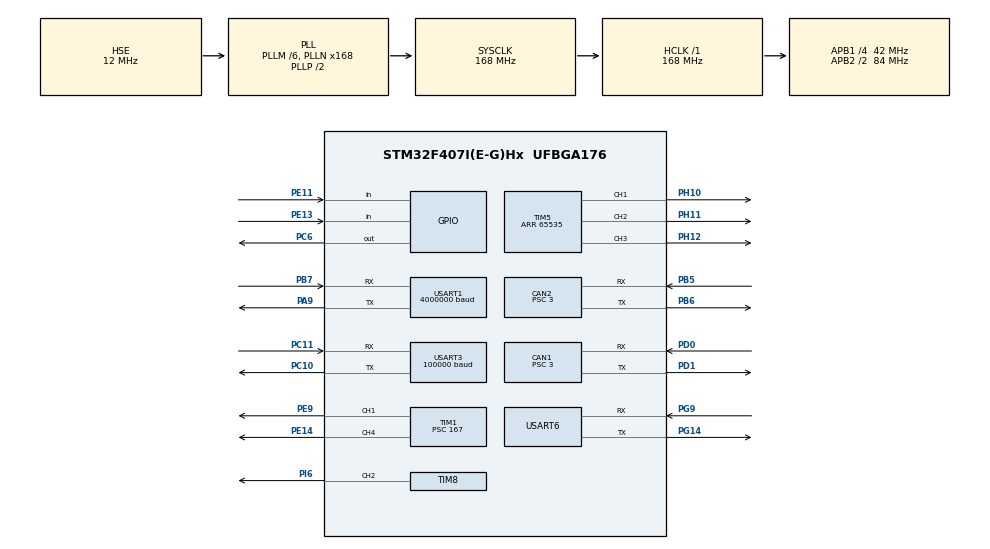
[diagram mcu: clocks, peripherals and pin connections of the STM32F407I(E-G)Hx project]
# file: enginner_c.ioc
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CAN1.ABOM=DISABLE
CAN1.BS1=CAN_BS1_10TQ
CAN1.BS2=CAN_BS2_3TQ
CAN1.CalculateBaudRate=1000000
CAN1.CalculateTimeBit=1000
CAN1.CalculateTimeQuantum=71.42857142857143
CAN1.Prescaler=3
CAN2.BS1=CAN_BS1_10TQ
CAN2.BS2=CAN_BS2_3TQ
CAN2.CalculateBaudRate=1000000
CAN2.CalculateTimeBit=1000
CAN2.CalculateTimeQuantum=71.42857142857143
CAN2.Prescaler=3
Dma.Request0=USART3_RX
Dma.Request1=TIM8_CH2
Dma.TIM8_CH2.1.Direction=DMA_MEMORY_TO_PERIPH
Dma.TIM8_CH2.1.FIFOMode=DMA_FIFOMODE_DISABLE
Dma.TIM8_CH2.1.Instance=DMA2_Stream3
Dma.TIM8_CH2.1.MemDataAlignment=DMA_MDATAALIGN_HALFWORD
Dma.TIM8_CH2.1.MemInc=DMA_MINC_ENABLE
Dma.TIM8_CH2.1.Mode=DMA_NORMAL
Dma.TIM8_CH2.1.PeriphDataAlignment=DMA_PDATAALIGN_HALFWORD
Dma.TIM8_CH2.1.PeriphInc=DMA_PINC_DISABLE
Dma.TIM8_CH2.1.Priority=DMA_PRIORITY_LOW
Dma.USART3_RX.0.Direction=DMA_PERIPH_TO_MEMORY
Dma.USART3_RX.0.FIFOMode=DMA_FIFOMODE_DISABLE
Dma.USART3_RX.0.Instance=DMA1_Stream1
Dma.USART3_RX.0.MemDataAlignment=DMA_MDATAALIGN_BYTE
Dma.USART3_RX.0.MemInc=DMA_MINC_ENABLE
Dma.USART3_RX.0.Mode=DMA_CIRCULAR
Dma.USART3_RX.0.PeriphDataAlignment=DMA_PDATAALIGN_BYTE
Dma.USART3_RX.0.PeriphInc=DMA_PINC_DISABLE
Dma.USART3_RX.0.Priority=DMA_PRIORITY_VERY_HIGH
FREERTOS.Tasks01=defaultTask,24,128,StartDefaultTask,Default,NULL,Dynamic,NULL,NULL;Kinematics,24,512,Kinematics_task,As external,NULL,Dynamic,NULL,NULL;Message,25,512,Message_task,As external,NULL,Dynamic,NULL,NULL;LED,8,128,Led_task,Default,NULL,Dynamic,NULL,NULL
Mcu.Family=STM32F4
Mcu.Name=STM32F407I(E-G)Hx
Mcu.Package=UFBGA176
NVIC.CAN1_RX0_IRQn=true\:5\:0\:false\:false\:true\:true\:true\:true\:true
NVIC.CAN2_RX0_IRQn=true\:5\:0\:false\:false\:true\:true\:true\:true\:true
NVIC.DMA1_Stream1_IRQn=true\:5\:0\:false\:false\:true\:true\:false\:true\:true
NVIC.DMA2_Stream3_IRQn=true\:5\:0\:false\:false\:true\:true\:false\:true\:true
NVIC.PriorityGroup=NVIC_PRIORITYGROUP_4
NVIC.USART1_IRQn=true\:5\:0\:false\:false\:true\:true\:true\:true\:true
NVIC.USART3_IRQn=true\:5\:0\:false\:false\:true\:true\:true\:true\:true
PA13.Mode=Serial_Wire
PA13.Signal=SYS_JTMS-SWDIO
PA14.Mode=Serial_Wire
PA14.Signal=SYS_JTCK-SWCLK
PA9.Mode=Asynchronous
PA9.Signal=USART1_TX
PB5.Mode=CAN_Activate
PB5.Signal=CAN2_RX
PB6.Mode=CAN_Activate
PB6.Signal=CAN2_TX
PB7.Mode=Asynchronous
PB7.Signal=USART1_RX
PC10.Mode=Asynchronous
PC10.Signal=USART3_TX
PC11.Mode=Asynchronous
PC11.Signal=USART3_RX
PC6.Signal=GPIO_Output
PD0.Mode=CAN_Activate
PD0.Signal=CAN1_RX
PD1.Mode=CAN_Activate
PD1.Signal=CAN1_TX
PE11.GPIO_PuPd=GPIO_PULLDOWN
PE11.Signal=GPIO_Input
PE13.GPIO_PuPd=GPIO_PULLDOWN
PE13.Signal=GPIO_Input
PE14.Signal=S_TIM1_CH4
PE9.Signal=S_TIM1_CH1
PG14.Mode=Asynchronous
PG14.Signal=USART6_TX
PG9.Mode=Asynchronous
PG9.Signal=USART6_RX
PH0-OSC_IN.Mode=HSE-External-Oscillator
PH0-OSC_IN.Signal=RCC_OSC_IN
PH1-OSC_OUT.Mode=HSE-External-Oscillator
PH1-OSC_OUT.Signal=RCC_OSC_OUT
PH10.Signal=S_TIM5_CH1
PH11.Signal=S_TIM5_CH2
PH12.Signal=S_TIM5_CH3
PI6.Signal=S_TIM8_CH2
ProjectManager.HeapSize=0x200
ProjectManager.StackSize=0x400
ProjectManager.TargetToolchain=MDK-ARM V5.32
RCC.48MHZClocksFreq_Value=84000000
RCC.AHBFreq_Value=168000000
RCC.APB1CLKDivider=RCC_HCLK_DIV4
RCC.APB1Freq_Value=42000000
RCC.APB1TimFreq_Value=84000000
RCC.APB2CLKDivider=RCC_HCLK_DIV2
RCC.APB2Freq_Value=84000000
RCC.APB2TimFreq_Value=168000000
RCC.CortexFreq_Value=168000000
RCC.HCLKFreq_Value=168000000
RCC.HSE_VALUE=12000000
RCC.HSI_VALUE=16000000
RCC.LSE_VALUE=32768
RCC.PLLM=6
RCC.PLLN=168
RCC.PLLSourceVirtual=RCC_PLLSOURCE_HSE
RCC.SYSCLKFreq_VALUE=168000000
RCC.SYSCLKSource=RCC_SYSCLKSOURCE_PLLCLK
RCC.VCOOutputFreq_Value=336000000
SH.S_TIM1_CH1.0=TIM1_CH1,PWM Generation1 CH1
SH.S_TIM1_CH4.0=TIM1_CH4,PWM Generation4 CH4
SH.S_TIM5_CH1.0=TIM5_CH1,PWM Generation1 CH1
SH.S_TIM5_CH2.0=TIM5_CH2,PWM Generation2 CH2
SH.S_TIM5_CH3.0=TIM5_CH3,PWM Generation3 CH3
SH.S_TIM8_CH2.0=TIM8_CH2,PWM Generation2 CH2
TIM1.Channel-PWM\ Generation1\ CH1=TIM_CHANNEL_1
TIM1.Channel-PWM\ Generation4\ CH4=TIM_CHANNEL_4
TIM1.Period=19999
TIM1.Prescaler=167
TIM1.Pulse-PWM\ Generation1\ CH1=2000
TIM1.Pulse-PWM\ Generation4\ CH4=2000
TIM5.Channel-PWM\ Generation1\ CH1=TIM_CHANNEL_1
TIM5.Channel-PWM\ Generation2\ CH2=TIM_CHANNEL_2
TIM5.Channel-PWM\ Generation3\ CH3=TIM_CHANNEL_3
TIM5.Period=65535
TIM5.Pulse-PWM\ Generation1\ CH1=10000
TIM5.Pulse-PWM\ Generation2\ CH2=10000
TIM5.Pulse-PWM\ Generation3\ CH3=10000
TIM8.Channel-PWM\ Generation2\ CH2=TIM_CHANNEL_2
TIM8.Period=209
TIM8.Prescaler=0
USART1.BaudRate=4000000
USART1.VirtualMode=VM_ASYNC
USART3.BaudRate=100000
USART3.VirtualMode=VM_ASYNC
USART6.VirtualMode=VM_ASYNC
VP_FREERTOS_VS_CMSIS_V2.Mode=CMSIS_V2
VP_TIM5_VS_ClockSourceINT.Mode=Internal
VP_TIM8_VS_ClockSourceINT.Mode=Internal
board=custom

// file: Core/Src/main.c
/* USER CODE BEGIN Header */
/**
  ******************************************************************************
  * @file           : main.c
  * @brief          : Main program body
  ******************************************************************************
  * @attention
  *
  * Copyright (c) 2023 STMicroelectronics.
  * All rights reserved.
  *
  * This software is licensed under terms that can be found in the LICENSE file
  * in the root directory of this software component.
  * If no LICENSE file comes with this software, it is provided AS-IS.
  *
  ******************************************************************************
  */
/* USER CODE END Header */
#include "main.h"
#include "cmsis_os.h"
#include "can.h"
#include "dma.h"
#include "tim.h"
#include "usart.h"
#include "gpio.h"

/* USER CODE BEGIN Includes */
#include "remote_control.h"
#include "RGB.h"
/* USER CODE END Includes */

void SystemClock_Config(void);
void MX_FREERTOS_Init(void);

int main(void)
{

  /* MCU Configuration--------------------------------------------------------*/

  /* Reset of all peripherals, Initializes the Flash interface and the Systick. */
  HAL_Init();

  /* Configure the system clock */
  SystemClock_Config();

  /* Initialize all configured peripherals */
  MX_GPIO_Init();
  MX_DMA_Init();
  MX_USART3_UART_Init();
  MX_USART1_UART_Init();
  MX_USART6_UART_Init();
  MX_CAN1_Init();
  MX_CAN2_Init();
  MX_TIM5_Init();
  MX_TIM8_Init();
  MX_TIM1_Init();
  /* USER CODE BEGIN 2 */
	can_filter_init();
  remote_control_init();
	HAL_TIM_Base_Start(&htim5);
	HAL_TIM_Base_Start(&htim1);
	HAL_TIM_PWM_Start(&htim5, TIM_CHANNEL_1);
  HAL_TIM_PWM_Start(&htim5, TIM_CHANNEL_2);
  HAL_TIM_PWM_Start(&htim5, TIM_CHANNEL_3);
	HAL_TIM_PWM_Start(&htim1, TIM_CHANNEL_1);
  HAL_TIM_PWM_Start(&htim1, TIM_CHANNEL_4);
	WS2812_INIT();
  /* USER CODE END 2 */

  /* Init scheduler */
  osKernelInitialize();  /* Call init function for freertos objects (in freertos.c) */
  MX_FREERTOS_Init();

  /* Start scheduler */
  osKernelStart();

  /* We should never get here as control is now taken by the scheduler */
  /* Infinite loop */
  while (1)
  {

  }
}

void SystemClock_Config(void)
{
  RCC_OscInitTypeDef RCC_OscInitStruct = {0};
  RCC_ClkInitTypeDef RCC_ClkInitStruct = {0};

  /** Configure the main internal regulator output voltage
  */
  __HAL_RCC_PWR_CLK_ENABLE();
  __HAL_PWR_VOLTAGESCALING_CONFIG(PWR_REGULATOR_VOLTAGE_SCALE1);

  /** Initializes the RCC Oscillators according to the specified parameters
  * in the RCC_OscInitTypeDef structure.
  */
  RCC_OscInitStruct.OscillatorType = RCC_OSCILLATORTYPE_HSE;
  RCC_OscInitStruct.HSEState = RCC_HSE_ON;
  RCC_OscInitStruct.PLL.PLLState = RCC_PLL_ON;
  RCC_OscInitStruct.PLL.PLLSource = RCC_PLLSOURCE_HSE;
  RCC_OscInitStruct.PLL.PLLM = 6;
  RCC_OscInitStruct.PLL.PLLN = 168;
  RCC_OscInitStruct.PLL.PLLP = RCC_PLLP_DIV2;
  RCC_OscInitStruct.PLL.PLLQ = 4;
  if (HAL_RCC_OscConfig(&RCC_OscInitStruct) != HAL_OK)
  {
    Error_Handler();
  }

  /** Initializes the CPU, AHB and APB buses clocks
  */
  RCC_ClkInitStruct.ClockType = RCC_CLOCKTYPE_HCLK|RCC_CLOCKTYPE_SYSCLK
                              |RCC_CLOCKTYPE_PCLK1|RCC_CLOCKTYPE_PCLK2;
  RCC_ClkInitStruct.SYSCLKSource = RCC_SYSCLKSOURCE_PLLCLK;
  RCC_ClkInitStruct.AHBCLKDivider = RCC_SYSCLK_DIV1;
  RCC_ClkInitStruct.APB1CLKDivider = RCC_HCLK_DIV4;
  RCC_ClkInitStruct.APB2CLKDivider = RCC_HCLK_DIV2;

  if (HAL_RCC_ClockConfig(&RCC_ClkInitStruct, FLASH_LATENCY_5) != HAL_OK)
  {
    Error_Handler();
  }
}

void Error_Handler(void)
{
  __disable_irq();
  while (1)
  {
  }
}

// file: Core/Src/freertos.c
/* USER CODE BEGIN Header */
/**
  ******************************************************************************
  * File Name          : freertos.c
  * Description        : Code for freertos applications
  ******************************************************************************
  * @attention
  *
  * Copyright (c) 2023 STMicroelectronics.
  * All rights reserved.
  *
  * This software is licensed under terms that can be found in the LICENSE file
  * in the root directory of this software component.
  * If no LICENSE file comes with this software, it is provided AS-IS.
  *
  ******************************************************************************
  */
/* USER CODE END Header */

#include "FreeRTOS.h"
#include "task.h"
#include "main.h"
#include "cmsis_os.h"

/* USER CODE BEGIN Includes */
#include "led.h"
/* USER CODE END Includes */

/* Definitions for defaultTask */
osThreadId_t defaultTaskHandle;
const osThreadAttr_t defaultTask_attributes = {
  .name = "defaultTask",
  .stack_size = 128 * 4,
  .priority = (osPriority_t) osPriorityNormal,
};
/* Definitions for Kinematics */
osThreadId_t KinematicsHandle;
const osThreadAttr_t Kinematics_attributes = {
  .name = "Kinematics",
  .stack_size = 512 * 4,
  .priority = (osPriority_t) osPriorityNormal,
};
/* Definitions for Message */
osThreadId_t MessageHandle;
const osThreadAttr_t Message_attributes = {
  .name = "Message",
  .stack_size = 512 * 4,
  .priority = (osPriority_t) osPriorityNormal1,
};
/* Definitions for LED */
osThreadId_t LEDHandle;
const osThreadAttr_t LED_attributes = {
  .name = "LED",
  .stack_size = 128 * 4,
  .priority = (osPriority_t) osPriorityLow,
};

void StartDefaultTask(void *argument);
extern void Kinematics_task(void *argument);
extern void Message_task(void *argument);
void Led_task(void *argument);

void MX_FREERTOS_Init(void); /* (MISRA C 2004 rule 8.1) */

void MX_FREERTOS_Init(void) {

  /* Create the thread(s) */
  /* creation of defaultTask */
  defaultTaskHandle = osThreadNew(StartDefaultTask, NULL, &defaultTask_attributes);

  /* creation of Kinematics */
  KinematicsHandle = osThreadNew(Kinematics_task, NULL, &Kinematics_attributes);

  /* creation of Message */
  MessageHandle = osThreadNew(Message_task, NULL, &Message_attributes);

  /* creation of LED */
  LEDHandle = osThreadNew(Led_task, NULL, &LED_attributes);

}

void StartDefaultTask(void *argument)
{
  for(;;)
  {
    osDelay(1);
  }
}

void Led_task(void *argument)
{
  /* USER CODE BEGIN Led_task */
  /* Infinite loop */
  for(;;)
  {
		aRGB_led_show(0x7F123456);
    osDelay(500);
	  aRGB_led_show(0x7F178500);
	  osDelay(500);

  }
  /* USER CODE END Led_task */
}
